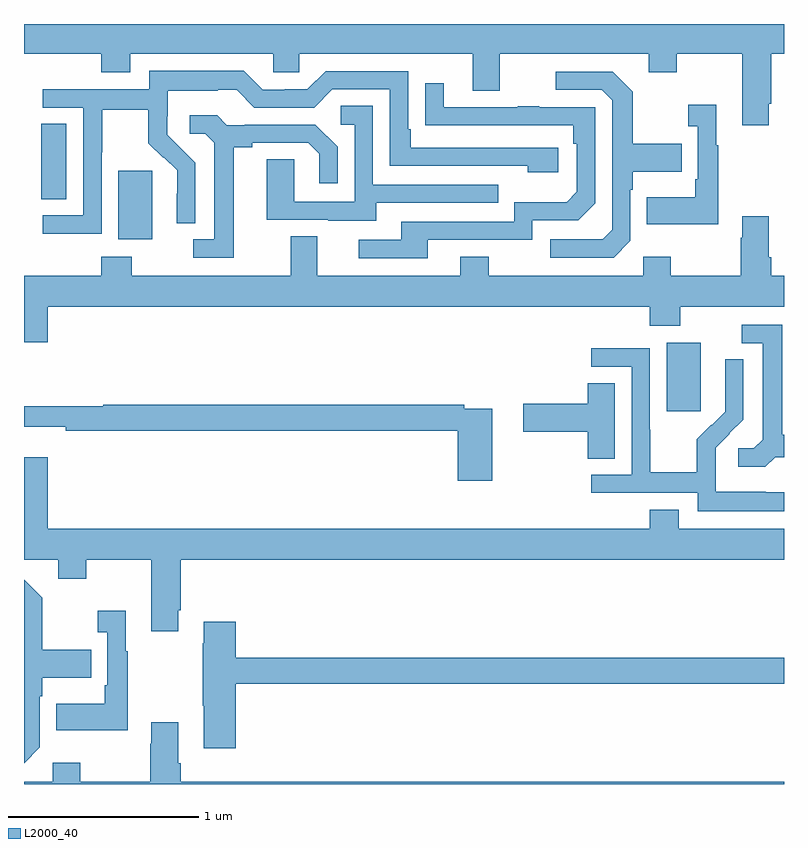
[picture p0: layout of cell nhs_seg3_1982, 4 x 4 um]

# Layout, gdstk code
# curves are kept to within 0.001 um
import gdstk
lib = gdstk.Library(unit=1e-6, precision=1e-09)
def R(c, l, rs):  # rectangles x0, y0, x1, y1
    for r in rs: c.add(gdstk.rectangle(r[:2], r[2:], *l))
def P(c, l, *ps):  # polygons
    for p in ps: c.add(gdstk.Polygon(p, *l))
L2000_40 = (2000, 40)

nhs_seg3_1982 = lib.new_cell('nhs_seg3_1982')
R(nhs_seg3_1982, L2000_40, [(216.383,704.361,216.562,704.722), (213.497,705.266,213.676,705.627), (213.092,705.478,213.223,705.875)])
P(nhs_seg3_1982, L2000_40, [(213,706.244),(213.407,706.244),(213.407,706.145),(213.559,706.145),(213.559,706.244),(214.311,706.244),(214.311,706.146),(214.449,706.146),(214.449,706.244),(215.363,706.244),(215.363,706.05),(215.503,706.05),(215.503,706.244),(216.287,706.244),(216.287,706.145),(216.435,706.145),(216.435,706.244),(216.779,706.244),(216.779,705.867),(216.919,705.867),(216.919,705.979),(216.932,705.979),(216.932,706.244),(217,706.244),(217,706.4),(213,706.4)],
  [(213.408,705.724),(213.411,705.724),(213.411,705.948),(213.655,705.948),(213.655,705.773),(213.732,705.696),(213.735,705.699),(213.806,705.629),(213.806,705.506),(213.804,705.506),(213.804,705.352),(213.9,705.352),(213.9,705.67),(213.754,705.818),(213.754,705.915),(213.756,705.915),(213.756,706.049),(214.019,706.049),(214.019,706.053),(214.119,706.053),(214.212,705.96),(214.527,705.96),(214.623,706.056),(214.926,706.056),(214.926,705.654),(215.651,705.654),(215.651,705.62),(215.812,705.62),(215.812,705.75),(215.035,705.75),(215.035,705.847),(215.022,705.847),(215.022,706.152),(214.587,706.152),(214.491,706.056),(214.373,706.056),(214.373,706.053),(214.257,706.053),(214.157,706.153),(213.66,706.153),(213.66,706.056),(213.099,706.056),(213.099,705.96),(213.312,705.96),(213.312,705.393),(213.099,705.393),(213.099,705.295),(213.408,705.295)],
  [(216.192,705.258),(216.192,705.527),(216.205,705.527),(216.205,705.623),(216.461,705.623),(216.461,705.771),(216.205,705.771),(216.205,706.043),(216.099,706.149),(215.799,706.149),(215.799,706.053),(216.042,706.053),(216.096,705.999),(216.096,705.318),(216.045,705.267),(215.769,705.267),(215.769,705.171),(216.105,705.171)],
  [(215.125,705.264),(215.676,705.264),(215.676,705.366),(215.916,705.366),(216.006,705.456),(216.006,705.963),(215.711,705.963),(215.711,705.968),(215.599,705.968),(215.599,705.963),(215.209,705.963),(215.209,706.087),(215.113,706.087),(215.113,705.868),(215.89,705.867),(215.89,705.77),(215.91,705.77),(215.91,705.516),(215.857,705.463),(215.58,705.463),(215.58,705.36),(214.985,705.36),(214.985,705.264),(214.761,705.264),(214.761,705.168),(215.125,705.168)],
  [(216.655,705.763),(216.643,705.763),(216.643,705.976),(216.495,705.976),(216.495,705.863),(216.546,705.863),(216.546,705.583),(216.534,705.583),(216.534,705.487),(216.277,705.487),(216.277,705.347),(216.655,705.347)],
  [(214.855,705.459),(215.495,705.459),(215.495,705.555),(214.836,705.555),(214.836,705.971),(214.668,705.971),(214.668,705.87),(214.74,705.87),(214.74,705.465),(214.422,705.465),(214.422,705.689),(214.277,705.689),(214.277,705.369),(214.601,705.369),(214.601,705.365),(214.855,705.365)],
  [(214.105,705.752),(214.201,705.752),(214.201,705.774),(214.496,705.774),(214.553,705.717),(214.553,705.561),(214.65,705.561),(214.65,705.754),(214.534,705.87),(214.162,705.87),(214.162,705.867),(214.068,705.867),(214.016,705.919),(213.873,705.919),(213.873,705.822),(213.954,705.822),(214.001,705.775),(214.001,705.267),(213.891,705.267),(213.891,705.171),(214.105,705.171)],
  [(213.124,704.912),(216.293,704.912),(216.293,704.813),(216.453,704.813),(216.453,704.912),(217,704.912),(217,705.076),(216.932,705.076),(216.932,705.172),(216.919,705.172),(216.919,705.388),(216.779,705.388),(216.779,705.275),(216.772,705.275),(216.772,705.076),(216.405,705.076),(216.405,705.175),(216.258,705.175),(216.258,705.076),(215.445,705.076),(215.445,705.175),(215.297,705.175),(215.297,705.076),(214.543,705.076),(214.543,705.284),(214.403,705.284),(214.403,705.076),(213.567,705.076),(213.567,705.175),(213.407,705.175),(213.407,705.076),(213,705.076),(213,704.724),(213.124,704.724)],
  [(216.954,704.121),(217,704.121),(217,704.237),(216.991,704.237),(216.991,704.817),(216.777,704.817),(216.777,704.721),(216.887,704.721),(216.887,704.213),(216.84,704.166),(216.759,704.166),(216.759,704.069),(216.902,704.069)],
  [(217,703.935),(216.905,703.935),(216.905,703.939),(216.642,703.939),(216.642,704.073),(216.64,704.073),(216.64,704.17),(216.786,704.318),(216.786,704.636),(216.69,704.636),(216.69,704.482),(216.692,704.482),(216.692,704.36),(216.621,704.289),(216.618,704.292),(216.541,704.215),(216.541,704.041),(216.297,704.041),(216.297,704.264),(216.294,704.264),(216.294,704.694),(215.985,704.694),(215.985,704.595),(216.198,704.595),(216.198,704.028),(215.985,704.028),(215.985,703.932),(216.546,703.932),(216.546,703.835),(217,703.835)],
  [(216.109,704.51),(215.966,704.51),(215.966,704.402),(215.628,704.402),(215.628,704.255),(215.966,704.255),(215.966,704.113),(216.109,704.113)],
  [(215.465,704.376),(215.318,704.376),(215.318,704.396),(213.418,704.396),(213.418,704.389),(213,704.389),(213,704.279),(213.22,704.279),(213.22,704.26),(215.282,704.26),(215.282,703.995),(215.465,703.995)],
  [(213.811,703.315),(213.824,703.315),(213.824,703.58),(217,703.58),(217,703.744),(216.445,703.744),(216.445,703.843),(216.293,703.843),(216.293,703.744),(213.124,703.744),(213.124,704.119),(213,704.119),(213,703.58),(213.179,703.58),(213.179,703.481),(213.327,703.481),(213.327,703.58),(213.671,703.58),(213.671,703.203),(213.811,703.203)],
  [(213.084,702.594),(213.084,702.863),(213.097,702.863),(213.097,702.959),(213.353,702.959),(213.353,703.107),(213.097,703.107),(213.097,703.379),(213,703.476),(213,702.51)],
  [(213.547,703.099),(213.535,703.099),(213.535,703.312),(213.387,703.312),(213.387,703.199),(213.438,703.199),(213.438,702.919),(213.426,702.919),(213.426,702.823),(213.169,702.823),(213.169,702.683),(213.547,702.683)],
  [(214.115,702.928),(217,702.928),(217,703.064),(214.115,703.064),(214.115,703.255),(213.947,703.255),(213.947,703.142),(213.94,703.142),(213.94,702.811),(213.947,702.811),(213.947,702.588),(214.115,702.588)],
  [(217,702.412),(213.824,702.412),(213.824,702.508),(213.811,702.508),(213.811,702.724),(213.671,702.724),(213.671,702.611),(213.664,702.611),(213.664,702.412),(213.297,702.412),(213.297,702.511),(213.15,702.511),(213.15,702.412),(213,702.412),(213,702.4),(217,702.4)])

lib.write_gds('nhs_seg3_1982.gds')
